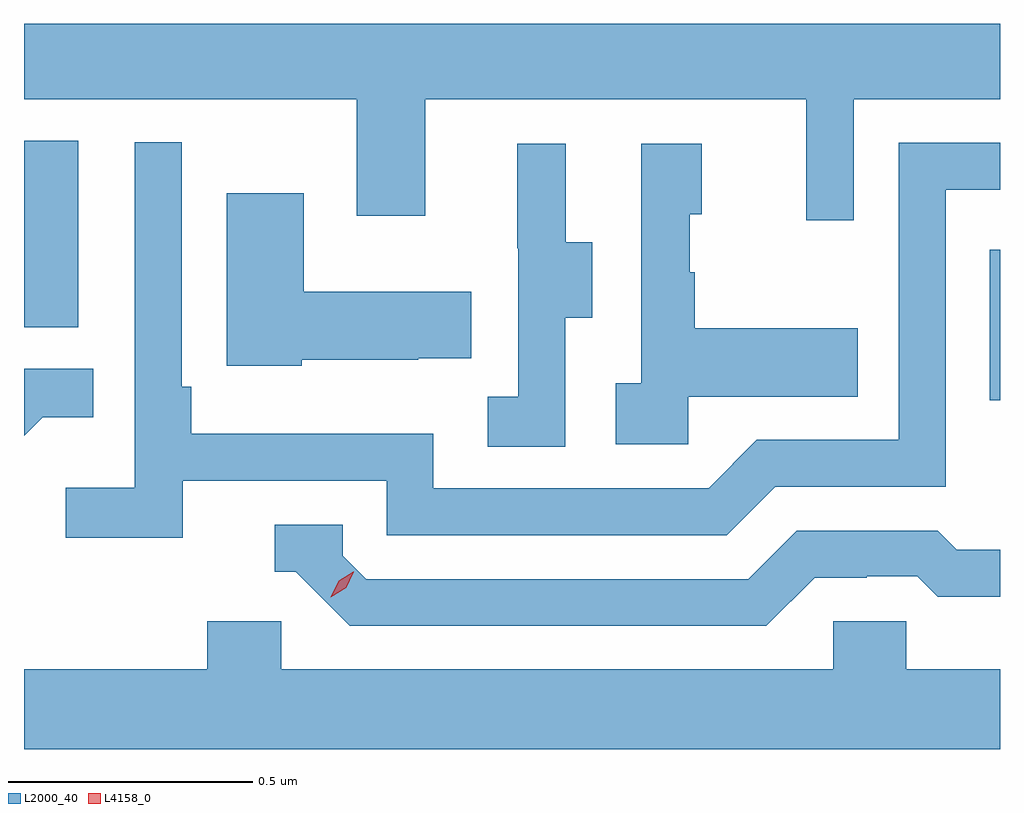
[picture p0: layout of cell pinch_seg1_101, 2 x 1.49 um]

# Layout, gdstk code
import gdstk
lib = gdstk.Library(unit=1e-6, precision=1e-09)
def R(c, l, rs):  # rectangles x0, y0, x1, y1
    for r in rs: c.add(gdstk.rectangle(r[:2], r[2:], *l))
def P(c, l, *ps):  # polygons
    for p in ps: c.add(gdstk.Polygon(p, *l))
L2000_40 = (2000, 40)
L4158_0 = (4158, 0)

pinch_seg1_101 = lib.new_cell('pinch_seg1_101')
R(pinch_seg1_101, L2000_40, [(1037.148,563.103,1037.169,563.412), (1035.169,563.253,1035.28,563.635)])
P(pinch_seg1_101, L2000_40, [(1036.869,563.72),(1037.169,563.72),(1037.169,563.875),(1035.169,563.875),(1035.169,563.72),(1035.851,563.72),(1035.851,563.481),(1035.991,563.481),(1035.991,563.72),(1036.772,563.72),(1036.772,563.472),(1036.869,563.472)],
  [(1035.494,562.938),(1035.912,562.938),(1035.912,562.827),(1036.609,562.827),(1036.708,562.926),(1037.058,562.926),(1037.058,563.535),(1037.169,563.535),(1037.169,563.631),(1036.962,563.631),(1036.962,563.022),(1036.671,563.022),(1036.572,562.923),(1036.008,562.923),(1036.008,563.035),(1035.512,563.035),(1035.512,563.131),(1035.492,563.131),(1035.492,563.632),(1035.396,563.632),(1035.396,562.924),(1035.255,562.924),(1035.255,562.822),(1035.494,562.822)],
  [(1036.53,563.111),(1036.877,563.111),(1036.877,563.251),(1036.543,563.251),(1036.543,563.366),(1036.533,563.366),(1036.533,563.484),(1036.558,563.484),(1036.558,563.629),(1036.434,563.629),(1036.434,563.138),(1036.382,563.138),(1036.382,563.013),(1036.53,563.013)],
  [(1036.278,563.272),(1036.333,563.272),(1036.333,563.427),(1036.279,563.427),(1036.279,563.629),(1036.18,563.629),(1036.18,563.415),(1036.182,563.415),(1036.182,563.111),(1036.119,563.111),(1036.119,563.008),(1036.278,563.008)],
  [(1035.738,563.186),(1035.977,563.186),(1035.977,563.189),(1036.085,563.189),(1036.085,563.326),(1035.742,563.326),(1035.742,563.527),(1035.584,563.527),(1035.584,563.174),(1035.738,563.174)],
  [(1035.207,563.069),(1035.311,563.069),(1035.311,563.168),(1035.169,563.168),(1035.169,563.031)],
  [(1036.789,562.74),(1036.896,562.74),(1036.896,562.743),(1036.999,562.743),(1037.041,562.701),(1037.169,562.701),(1037.169,562.797),(1037.08,562.797),(1037.041,562.836),(1036.752,562.836),(1036.653,562.737),(1035.87,562.737),(1035.822,562.785),(1035.822,562.848),(1035.683,562.848),(1035.683,562.752),(1035.726,562.752),(1035.837,562.641),(1036.69,562.641)],
  [(1037.169,562.552),(1036.977,562.552),(1036.977,562.65),(1036.827,562.65),(1036.827,562.552),(1035.696,562.552),(1035.696,562.65),(1035.545,562.65),(1035.545,562.552),(1035.169,562.552),(1035.169,562.388),(1037.169,562.388)])
P(pinch_seg1_101, L4158_0, [(1035.798,562.7),(1035.798,562.7),(1035.814,562.733),(1035.844,562.752),(1035.845,562.752),(1035.845,562.752),(1035.829,562.719),(1035.798,562.7)])

lib.write_gds('pinch_seg1_101.gds')
